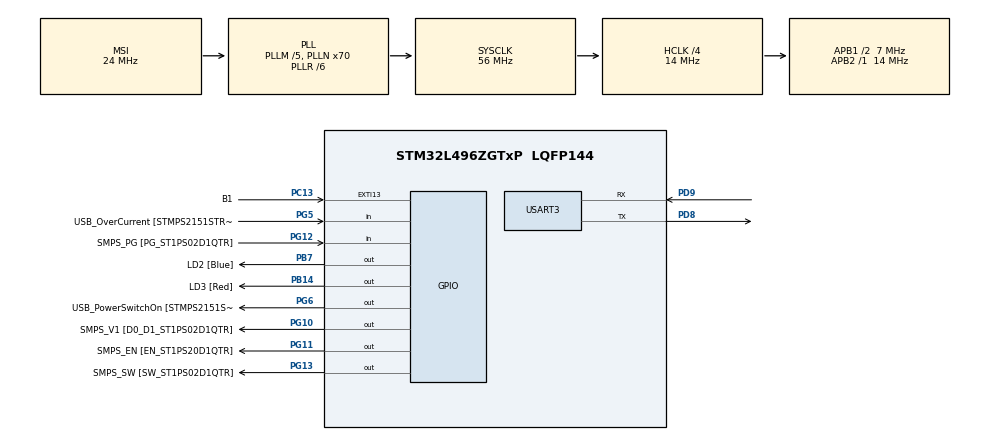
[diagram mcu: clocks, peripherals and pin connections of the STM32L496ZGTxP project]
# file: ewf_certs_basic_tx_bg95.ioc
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Mcu.Family=STM32L4
Mcu.Name=STM32L496ZGTxP
Mcu.Package=LQFP144
NVIC.PriorityGroup=NVIC_PRIORITYGROUP_4
NVIC.TIM6_DAC_IRQn=true\:15\:0\:false\:false\:true\:false\:false\:true\:true
NVIC.TimeBase=TIM6_DAC_IRQn
NVIC.TimeBaseIP=TIM6
NVIC.USART3_IRQn=true\:0\:0\:false\:false\:true\:false\:true\:true\:true
PA10.GPIO_Label=USB_ID
PA10.Signal=USB_OTG_FS_ID
PA11.GPIO_Label=USB_DM
PA11.Signal=USB_OTG_FS_DM
PA12.GPIO_Label=USB_DP
PA12.Signal=USB_OTG_FS_DP
PA13\ (JTMS/SWDIO).GPIO_Label=TMS
PA13\ (JTMS/SWDIO).Mode=Trace_Asynchronous_SW
PA13\ (JTMS/SWDIO).Signal=SYS_JTMS-SWDIO
PA14\ (JTCK/SWCLK).GPIO_Label=TCK
PA14\ (JTCK/SWCLK).Mode=Trace_Asynchronous_SW
PA14\ (JTCK/SWCLK).Signal=SYS_JTCK-SWCLK
PA8.GPIO_Label=USB_SOF [TP1]
PA8.Signal=USB_OTG_FS_SOF
PA9.GPIO_Label=USB_VBUS
PA9.Signal=USB_OTG_FS_VBUS
PB14.GPIO_Label=LD3 [Red]
PB14.Signal=GPIO_Output
PB3\ (JTDO/TRACESWO).GPIO_Label=SWO
PB3\ (JTDO/TRACESWO).Mode=Trace_Asynchronous_SW
PB3\ (JTDO/TRACESWO).Signal=SYS_JTDO-SWO
PB7.GPIO_Label=LD2 [Blue]
PB7.Signal=GPIO_Output
PC13.GPIO_Label=B1
PC13.Signal=GPXTI13
PC14-OSC32_IN\ (PC14).Mode=LSE-External-Oscillator
PC14-OSC32_IN\ (PC14).Signal=RCC_OSC32_IN
PC15-OSC32_OUT\ (PC15).Mode=LSE-External-Oscillator
PC15-OSC32_OUT\ (PC15).Signal=RCC_OSC32_OUT
PD8.GPIO_ModeDefaultPP=GPIO_MODE_AF_OD
PD8.GPIO_PuPd=GPIO_PULLUP
PD8.GPIO_Speed=GPIO_SPEED_FREQ_HIGH
PD8.Mode=Asynchronous
PD8.Signal=USART3_TX
PD9.GPIO_ModeDefaultPP=GPIO_MODE_AF_OD
PD9.GPIO_PuPd=GPIO_PULLUP
PD9.GPIO_Speed=GPIO_SPEED_FREQ_HIGH
PD9.Mode=Asynchronous
PD9.Signal=USART3_RX
PG10.GPIO_Label=SMPS_V1 [D0_D1_ST1PS02D1QTR]
PG10.Signal=GPIO_Output
PG11.GPIO_Label=SMPS_EN [EN_ST1PS20D1QTR]
PG11.Signal=GPIO_Output
PG12.GPIO_Label=SMPS_PG [PG_ST1PS02D1QTR]
PG12.Signal=GPIO_Input
PG13.GPIO_Label=SMPS_SW [SW_ST1PS02D1QTR]
PG13.Signal=GPIO_Output
PG5.GPIO_Label=USB_OverCurrent [STMPS2151STR_FAULT]
PG5.Signal=GPIO_Input
PG6.GPIO_Label=USB_PowerSwitchOn [STMPS2151STR_EN]
PG6.Signal=GPIO_Output
PG7.GPIO_Label=STLK_RX [STM32F103CBT6_PA3]
PG7.Signal=LPUART1_TX
PG8.GPIO_Label=STLK_TX [STM32F103CBT6_PA2]
PG8.Signal=LPUART1_RX
PH0-OSC_IN\ (PH0).GPIO_Label=MCO
PH0-OSC_IN\ (PH0).Signal=RCC_OSC_IN
PH1-OSC_OUT\ (PH1).Signal=RCC_OSC_OUT
ProjectManager.HeapSize=0x200
ProjectManager.StackSize=0x400
ProjectManager.TargetToolchain=STM32CubeIDE
RCC.48MHZClocksFreq_Value=24000000
RCC.ADCFreq_Value=48000000
RCC.AHBCLKDivider=RCC_SYSCLK_DIV4
RCC.AHBFreq_Value=14000000
RCC.APB1CLKDivider=RCC_HCLK_DIV2
RCC.APB1Freq_Value=7000000
RCC.APB1TimFreq_Value=14000000
RCC.APB2Freq_Value=14000000
RCC.APB2TimFreq_Value=14000000
RCC.CortexFreq_Value=14000000
RCC.HCLKFreq_Value=14000000
RCC.HSE_VALUE=8000000
RCC.HSI48_VALUE=48000000
RCC.HSI_VALUE=16000000
RCC.MSIAutoCalibration=ENABLED
RCC.MSIClockRange=RCC_MSIRANGE_9
RCC.MSI_VALUE=24000000
RCC.PLLM=5
RCC.PLLMUL=RCC_PLL_MUL9
RCC.PLLN=70
RCC.PLLR=RCC_PLLR_DIV6
RCC.PLLSAI1N=20
RCC.PRESCALERUSB=RCC_USBCLKSOURCE_PLL_DIV1_5
RCC.SYSCLKFreq_VALUE=56000000
RCC.SYSCLKSource=RCC_SYSCLKSOURCE_PLLCLK
RCC.SYSCLKSourceVirtual=RCC_SYSCLKSOURCE_PLLCLK
RCC.USBFreq_Value=48000000
RCC.VCOOutputFreq_Value=336000000
STMicroelectronics.X-CUBE-AZRTOS-L4.1.0.0.TX_APP_MEM_POOL_SIZE=512
STMicroelectronics.X-CUBE-AZRTOS-L4.1.0.0.ThreadXCcRTOSJjThreadXJjCore=true
STMicroelectronics.X-CUBE-AZRTOS-L4.1.0.0.ThreadXCcRTOSJjThreadXJjLowOoPowerOosupport=true
STMicroelectronics.X-CUBE-AZRTOS-L4.1.0.0.ThreadXCcRTOSJjThreadXJjPerformanceInfo=true
STMicroelectronics.X-CUBE-AZRTOS-L4.1.0.0.ThreadXCcRTOSJjThreadXJjTraceXOosupport=true
STMicroelectronics.X-CUBE-AZRTOS-L4.1.0.0_IsAnAzureRtosMw=true
USART3.SwapParam=ADVFEATURE_SWAP_DISABLE
USART3.VirtualMode-Asynchronous=VM_ASYNC
VP_STMicroelectronics.X-CUBE-AZRTOS-L4_VS_RTOSJjThreadX_6.1.7_1.0.0.Mode=RTOSJjThreadX
VP_SYS_VS_tim6.Mode=TIM6
board=NUCLEO-L496ZG-P

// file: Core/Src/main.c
/* USER CODE BEGIN Header */
/**
  ******************************************************************************
  * @file           : main.c
  * @brief          : Main program body
  ******************************************************************************
  * @attention
  *
  * Copyright (c) 2022 STMicroelectronics.
  * All rights reserved.
  *
  * This software is licensed under terms that can be found in the LICENSE file
  * in the root directory of this software component.
  * If no LICENSE file comes with this software, it is provided AS-IS.
  *
  ******************************************************************************
  */
/* USER CODE END Header */
#include "main.h"
#include "app_threadx.h"

/* USER CODE BEGIN Includes */

#include <stdio.h>

#include "ewf_lib.c"
#include "ewf_platform_threadx.c"
#include "ewf_allocator.c"
#include "ewf_allocator_threadx.c"
#include "ewf_interface.c"
#include "ewf_interface_stm32_uart.c"
#include "ewf_adapter.c"
#include "ewf_adapter_api_control.c"
#include "ewf_adapter_api_info.c"
#include "ewf_adapter_api_tls_basic.c"
#include "ewf_adapter_api_mqtt_basic.c"
#include "ewf_adapter_api_tcp.c"
#include "ewf_adapter_api_udp.c"
#include "ewf_adapter_api_modem.c"
#include "ewf_adapter_api_modem_general.c"
#include "ewf_adapter_api_modem_network_service.c"
#include "ewf_adapter_api_modem_packet_domain.c"
#include "ewf_adapter_api_modem_sim_utility.c"
#include "ewf_adapter_api_modem_sms.c"
#include "ewf_adapter_quectel_bg95.c"
#include "examples/ewf_example_certs_basic_quectel_bg95.c"

#include "ewf_example.config.h"

/* USER CODE END Includes */

/* USER CODE BEGIN PTD */

#if defined ( __GNUC__) && !defined(__clang__)
/* With GCC, small printf (option LD Linker->Libraries->Small printf
   set to 'Yes') calls __io_putchar() */
#define PUTCHAR_PROTOTYPE int __io_putchar(int ch)
#else
#define PUTCHAR_PROTOTYPE int fputc(int ch, FILE *f)
#endif /* __GNUC__ */

/* USER CODE END PTD */

UART_HandleTypeDef huart3;

void SystemClock_Config(void);
static void MX_GPIO_Init(void);
static void MX_USART3_UART_Init(void);

/* USER CODE BEGIN 0 */

/**
* @brief  Retargets the C library printf function to the USART.
* @param  None
* @retval None
*/

PUTCHAR_PROTOTYPE
{
    /* Place your implementation of fputc here */
    /* e.g. write a character to the USART1 and Loop until the end of transmission */
	ITM_SendChar(ch);
    return ch;
}

void thread_sample_entry(ULONG thread_input)
{
    ewf_result result;

    ewf_allocator* message_allocator_ptr = NULL;
    ewf_interface* interface_ptr = NULL;
    ewf_adapter* adapter_ptr = NULL;

    EWF_LOG("\nStarting...\n");

    EWF_ALLOCATOR_THREADX_STATIC_DECLARE(message_allocator_ptr, message_allocator,
		EWF_CONFIG_MESSAGE_ALLOCATOR_BLOCK_COUNT,
		EWF_CONFIG_MESSAGE_ALLOCATOR_BLOCK_SIZE);
    EWF_INTERFACE_STM32_UART_STATIC_DECLARE(interface_ptr, stm32_uart_port, &huart3);
    EWF_ADAPTER_QUECTEL_BG95_STATIC_DECLARE(adapter_ptr, quectel_bg95, message_allocator_ptr, NULL, interface_ptr);

    // Start the adapter
    if (ewf_result_failed(result = ewf_adapter_start(adapter_ptr)))
    {
        EWF_LOG_ERROR("Failed to start the adapter, ewf_result %d.\n", result);
        exit(result);
    }

    // Call the certificate provisioning example
    if (ewf_result_failed(result = ewf_example_certs_basic_quectel_bg95(adapter_ptr)))
    {
        EWF_LOG_ERROR("The certificate provisioning example returned and error, ewf_result %d.\n", result);
        exit(result);
    }

    EWF_LOG("\nDone!\n");

    // Stay here forever
    while (1)
    {
    	EWF_LOG(".");
        tx_thread_sleep(TX_TIMER_TICKS_PER_SECOND);
    }
}

/* USER CODE END 0 */

int main(void)
{

  /* MCU Configuration--------------------------------------------------------*/

  /* Reset of all peripherals, Initializes the Flash interface and the Systick. */
  HAL_Init();

  /* Configure the system clock */
  SystemClock_Config();

  /* Initialize all configured peripherals */
  MX_GPIO_Init();
  MX_USART3_UART_Init();

  MX_ThreadX_Init();

  /* We should never get here as control is now taken by the scheduler */
  /* Infinite loop */
  while (1)
  {

  }
}

void SystemClock_Config(void)
{
  RCC_OscInitTypeDef RCC_OscInitStruct = {0};
  RCC_ClkInitTypeDef RCC_ClkInitStruct = {0};

  /** Configure the main internal regulator output voltage
  */
  if (HAL_PWREx_ControlVoltageScaling(PWR_REGULATOR_VOLTAGE_SCALE1) != HAL_OK)
  {
    Error_Handler();
  }

  /** Initializes the RCC Oscillators according to the specified parameters
  * in the RCC_OscInitTypeDef structure.
  */
  RCC_OscInitStruct.OscillatorType = RCC_OSCILLATORTYPE_MSI;
  RCC_OscInitStruct.MSIState = RCC_MSI_ON;
  RCC_OscInitStruct.MSICalibrationValue = 0;
  RCC_OscInitStruct.MSIClockRange = RCC_MSIRANGE_9;
  RCC_OscInitStruct.PLL.PLLState = RCC_PLL_ON;
  RCC_OscInitStruct.PLL.PLLSource = RCC_PLLSOURCE_MSI;
  RCC_OscInitStruct.PLL.PLLM = 5;
  RCC_OscInitStruct.PLL.PLLN = 70;
  RCC_OscInitStruct.PLL.PLLP = RCC_PLLP_DIV2;
  RCC_OscInitStruct.PLL.PLLQ = RCC_PLLQ_DIV2;
  RCC_OscInitStruct.PLL.PLLR = RCC_PLLR_DIV6;
  if (HAL_RCC_OscConfig(&RCC_OscInitStruct) != HAL_OK)
  {
    Error_Handler();
  }

  /** Initializes the CPU, AHB and APB buses clocks
  */
  RCC_ClkInitStruct.ClockType = RCC_CLOCKTYPE_HCLK|RCC_CLOCKTYPE_SYSCLK
                              |RCC_CLOCKTYPE_PCLK1|RCC_CLOCKTYPE_PCLK2;
  RCC_ClkInitStruct.SYSCLKSource = RCC_SYSCLKSOURCE_PLLCLK;
  RCC_ClkInitStruct.AHBCLKDivider = RCC_SYSCLK_DIV4;
  RCC_ClkInitStruct.APB1CLKDivider = RCC_HCLK_DIV2;
  RCC_ClkInitStruct.APB2CLKDivider = RCC_HCLK_DIV1;

  if (HAL_RCC_ClockConfig(&RCC_ClkInitStruct, FLASH_LATENCY_0) != HAL_OK)
  {
    Error_Handler();
  }
}

static void MX_USART3_UART_Init(void)
{

  huart3.Instance = USART3;
  huart3.Init.BaudRate = 115200;
  huart3.Init.WordLength = UART_WORDLENGTH_8B;
  huart3.Init.StopBits = UART_STOPBITS_1;
  huart3.Init.Parity = UART_PARITY_NONE;
  huart3.Init.Mode = UART_MODE_TX_RX;
  huart3.Init.HwFlowCtl = UART_HWCONTROL_NONE;
  huart3.Init.OverSampling = UART_OVERSAMPLING_16;
  huart3.Init.OneBitSampling = UART_ONE_BIT_SAMPLE_DISABLE;
  huart3.AdvancedInit.AdvFeatureInit = UART_ADVFEATURE_NO_INIT;
  if (HAL_UART_Init(&huart3) != HAL_OK)
  {
    Error_Handler();
  }

}

static void MX_GPIO_Init(void)
{
  GPIO_InitTypeDef GPIO_InitStruct = {0};

  /* GPIO Ports Clock Enable */
  __HAL_RCC_GPIOC_CLK_ENABLE();
  __HAL_RCC_GPIOH_CLK_ENABLE();
  __HAL_RCC_GPIOB_CLK_ENABLE();
  __HAL_RCC_GPIOD_CLK_ENABLE();
  __HAL_RCC_GPIOG_CLK_ENABLE();
  HAL_PWREx_EnableVddIO2();
  __HAL_RCC_GPIOA_CLK_ENABLE();

  /*Configure GPIO pin Output Level */
  HAL_GPIO_WritePin(GPIOB, LD3_Pin|LD2_Pin, GPIO_PIN_RESET);

  /*Configure GPIO pin Output Level */
  HAL_GPIO_WritePin(GPIOG, USB_PowerSwitchOn_Pin|SMPS_V1_Pin|SMPS_EN_Pin|SMPS_SW_Pin, GPIO_PIN_RESET);

  /*Configure GPIO pin : B1_Pin */
  GPIO_InitStruct.Pin = B1_Pin;
  GPIO_InitStruct.Mode = GPIO_MODE_IT_RISING;
  GPIO_InitStruct.Pull = GPIO_NOPULL;
  HAL_GPIO_Init(B1_GPIO_Port, &GPIO_InitStruct);

  /*Configure GPIO pins : LD3_Pin LD2_Pin */
  GPIO_InitStruct.Pin = LD3_Pin|LD2_Pin;
  GPIO_InitStruct.Mode = GPIO_MODE_OUTPUT_PP;
  GPIO_InitStruct.Pull = GPIO_NOPULL;
  GPIO_InitStruct.Speed = GPIO_SPEED_FREQ_LOW;
  HAL_GPIO_Init(GPIOB, &GPIO_InitStruct);

  /*Configure GPIO pins : USB_OverCurrent_Pin SMPS_PG_Pin */
  GPIO_InitStruct.Pin = USB_OverCurrent_Pin|SMPS_PG_Pin;
  GPIO_InitStruct.Mode = GPIO_MODE_INPUT;
  GPIO_InitStruct.Pull = GPIO_NOPULL;
  HAL_GPIO_Init(GPIOG, &GPIO_InitStruct);

  /*Configure GPIO pins : USB_PowerSwitchOn_Pin SMPS_V1_Pin SMPS_EN_Pin SMPS_SW_Pin */
  GPIO_InitStruct.Pin = USB_PowerSwitchOn_Pin|SMPS_V1_Pin|SMPS_EN_Pin|SMPS_SW_Pin;
  GPIO_InitStruct.Mode = GPIO_MODE_OUTPUT_PP;
  GPIO_InitStruct.Pull = GPIO_NOPULL;
  GPIO_InitStruct.Speed = GPIO_SPEED_FREQ_LOW;
  HAL_GPIO_Init(GPIOG, &GPIO_InitStruct);

  /*Configure GPIO pins : STLK_RX_Pin STLK_TX_Pin */
  GPIO_InitStruct.Pin = STLK_RX_Pin|STLK_TX_Pin;
  GPIO_InitStruct.Mode = GPIO_MODE_AF_PP;
  GPIO_InitStruct.Pull = GPIO_NOPULL;
  GPIO_InitStruct.Speed = GPIO_SPEED_FREQ_VERY_HIGH;
  GPIO_InitStruct.Alternate = GPIO_AF8_LPUART1;
  HAL_GPIO_Init(GPIOG, &GPIO_InitStruct);

  /*Configure GPIO pins : USB_SOF_Pin USB_ID_Pin USB_DM_Pin USB_DP_Pin */
  GPIO_InitStruct.Pin = USB_SOF_Pin|USB_ID_Pin|USB_DM_Pin|USB_DP_Pin;
  GPIO_InitStruct.Mode = GPIO_MODE_AF_PP;
  GPIO_InitStruct.Pull = GPIO_NOPULL;
  GPIO_InitStruct.Speed = GPIO_SPEED_FREQ_VERY_HIGH;
  GPIO_InitStruct.Alternate = GPIO_AF10_OTG_FS;
  HAL_GPIO_Init(GPIOA, &GPIO_InitStruct);

}

void HAL_TIM_PeriodElapsedCallback(TIM_HandleTypeDef *htim)
{
  if (htim->Instance == TIM6) {
    HAL_IncTick();
  }
}

void Error_Handler(void)
{
  __disable_irq();
  while (1)
  {
  }
}
